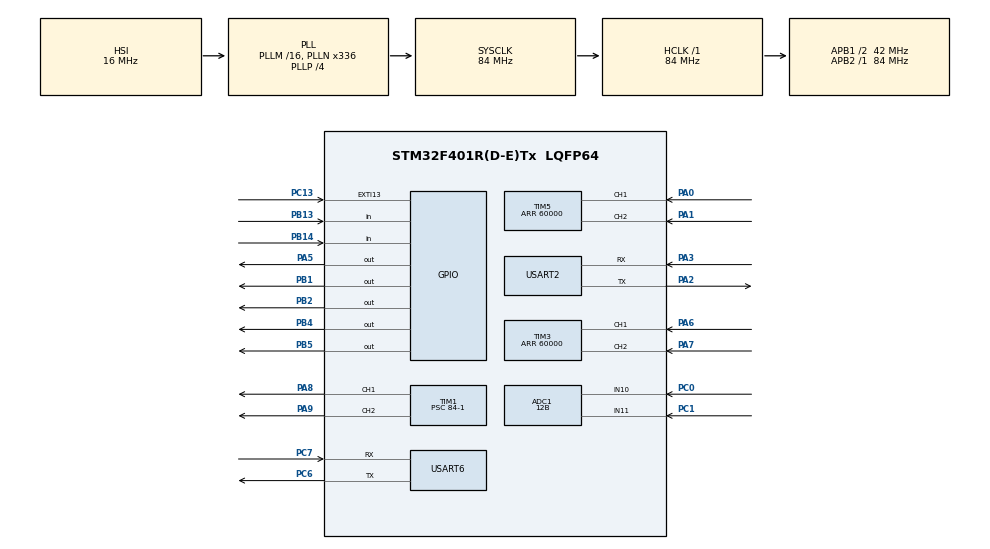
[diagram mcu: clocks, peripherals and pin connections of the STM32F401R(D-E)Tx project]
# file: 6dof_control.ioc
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ADC1.Channel-0\#ChannelRegularConversion=ADC_CHANNEL_10
ADC1.Channel-1\#ChannelRegularConversion=ADC_CHANNEL_11
ADC1.ClockPrescaler=ADC_CLOCK_SYNC_PCLK_DIV4
ADC1.ContinuousConvMode=DISABLE
ADC1.DMAContinuousRequests=ENABLE
ADC1.DataAlign=ADC_DATAALIGN_RIGHT
ADC1.DiscontinuousConvMode=DISABLE
ADC1.EOCSelection=ADC_EOC_SEQ_CONV
ADC1.EnableAnalogWatchDog=false
ADC1.ExternalTrigConv=ADC_EXTERNALTRIGCONV_T2_TRGO
ADC1.ExternalTrigConvEdge=ADC_EXTERNALTRIGCONVEDGE_RISING
ADC1.InjNumberOfConversion=0
ADC1.NbrOfConversion=2
ADC1.NbrOfConversionFlag=1
ADC1.Rank-0\#ChannelRegularConversion=1
ADC1.Rank-1\#ChannelRegularConversion=2
ADC1.Resolution=ADC_RESOLUTION_12B
ADC1.SamplingTime-0\#ChannelRegularConversion=ADC_SAMPLETIME_112CYCLES
ADC1.SamplingTime-1\#ChannelRegularConversion=ADC_SAMPLETIME_112CYCLES
ADC1.ScanConvMode=ENABLE
ADC1.master=1
Dma.ADC1.0.Direction=DMA_PERIPH_TO_MEMORY
Dma.ADC1.0.FIFOMode=DMA_FIFOMODE_DISABLE
Dma.ADC1.0.Instance=DMA2_Stream0
Dma.ADC1.0.MemDataAlignment=DMA_MDATAALIGN_WORD
Dma.ADC1.0.MemInc=DMA_MINC_ENABLE
Dma.ADC1.0.Mode=DMA_CIRCULAR
Dma.ADC1.0.PeriphDataAlignment=DMA_PDATAALIGN_WORD
Dma.ADC1.0.PeriphInc=DMA_PINC_DISABLE
Dma.ADC1.0.Priority=DMA_PRIORITY_LOW
Dma.Request0=ADC1
Mcu.Family=STM32F4
Mcu.Name=STM32F401R(D-E)Tx
Mcu.Package=LQFP64
NVIC.ADC_IRQn=true\:0\:0\:false\:false\:true\:true
NVIC.DMA2_Stream0_IRQn=true\:0\:0\:false\:false\:true\:false
NVIC.PriorityGroup=NVIC_PRIORITYGROUP_0
NVIC.TIM1_BRK_TIM9_IRQn=true\:0\:0\:false\:false\:true\:true
NVIC.TIM1_UP_TIM10_IRQn=true\:0\:0\:false\:false\:true\:true
NVIC.TIM2_IRQn=true\:0\:0\:false\:false\:true\:true
NVIC.TIM3_IRQn=true\:0\:0\:false\:false\:true\:true
NVIC.TIM4_IRQn=true\:0\:0\:false\:false\:true\:true
NVIC.TIM5_IRQn=true\:0\:0\:false\:false\:true\:true
PA0-WKUP.GPIO_ModeDefaultPP=GPIO_MODE_AF_PP
PA0-WKUP.GPIO_PuPd=GPIO_PULLUP
PA0-WKUP.GPIO_Speed=GPIO_SPEED_FREQ_VERY_HIGH
PA0-WKUP.Signal=S_TIM5_CH1
PA1.GPIO_ModeDefaultPP=GPIO_MODE_AF_PP
PA1.GPIO_PuPd=GPIO_PULLUP
PA1.GPIO_Speed=GPIO_SPEED_FREQ_VERY_HIGH
PA1.Signal=S_TIM5_CH2
PA13.Mode=Serial_Wire
PA13.Signal=SYS_JTMS-SWDIO
PA14.Mode=Serial_Wire
PA14.Signal=SYS_JTCK-SWCLK
PA2.GPIO_Mode=GPIO_MODE_AF_PP
PA2.GPIO_PuPd=GPIO_PULLUP
PA2.GPIO_Speed=GPIO_SPEED_FREQ_VERY_HIGH
PA2.Mode=Asynchronous
PA2.Signal=USART2_TX
PA3.GPIO_Mode=GPIO_MODE_AF_PP
PA3.GPIO_PuPd=GPIO_PULLUP
PA3.GPIO_Speed=GPIO_SPEED_FREQ_VERY_HIGH
PA3.Mode=Asynchronous
PA3.Signal=USART2_RX
PA5.GPIO_Mode=GPIO_MODE_OUTPUT_PP
PA5.GPIO_ModeDefaultOutputPP=GPIO_MODE_OUTPUT_PP
PA5.GPIO_PuPd=GPIO_NOPULL
PA5.GPIO_Speed=GPIO_SPEED_FREQ_LOW
PA5.PinState=GPIO_PIN_RESET
PA5.Signal=GPIO_Output
PA6.GPIO_ModeDefaultPP=GPIO_MODE_AF_PP
PA6.GPIO_PuPd=GPIO_PULLUP
PA6.GPIO_Speed=GPIO_SPEED_FREQ_VERY_HIGH
PA6.Signal=S_TIM3_CH1
PA7.GPIO_ModeDefaultPP=GPIO_MODE_AF_PP
PA7.GPIO_PuPd=GPIO_PULLUP
PA7.GPIO_Speed=GPIO_SPEED_FREQ_VERY_HIGH
PA7.Signal=S_TIM3_CH2
PA8.Signal=S_TIM1_CH1
PA9.Signal=S_TIM1_CH2
PB1.Signal=GPIO_Output
PB13.GPIO_Mode=GPIO_MODE_INPUT
PB13.GPIO_PuPd=GPIO_NOPULL
PB13.Signal=GPIO_Input
PB14.GPIO_Mode=GPIO_MODE_INPUT
PB14.GPIO_PuPd=GPIO_NOPULL
PB14.Signal=GPIO_Input
PB2.Signal=GPIO_Output
PB3.Signal=SYS_JTDO-SWO
PB4.Signal=GPIO_Output
PB5.Signal=GPIO_Output
PC0.Signal=ADCx_IN10
PC1.Signal=ADCx_IN11
PC13-ANTI_TAMP.GPIO_ModeDefaultEXTI=GPIO_MODE_IT_RISING
PC13-ANTI_TAMP.GPIO_PuPd=GPIO_NOPULL
PC13-ANTI_TAMP.Signal=GPXTI13
PC14-OSC32_IN.Mode=LSE-External-Oscillator
PC14-OSC32_IN.Signal=RCC_OSC32_IN
PC15-OSC32_OUT.Mode=LSE-External-Oscillator
PC15-OSC32_OUT.Signal=RCC_OSC32_OUT
PC6.GPIO_Mode=GPIO_MODE_AF_PP
PC6.GPIO_PuPd=GPIO_PULLUP
PC6.GPIO_Speed=GPIO_SPEED_FREQ_VERY_HIGH
PC6.Mode=Asynchronous
PC6.Signal=USART6_TX
PC7.GPIO_Mode=GPIO_MODE_AF_PP
PC7.GPIO_PuPd=GPIO_PULLUP
PC7.GPIO_Speed=GPIO_SPEED_FREQ_VERY_HIGH
PC7.Mode=Asynchronous
PC7.Signal=USART6_RX
PH0\ -\ OSC_IN.Mode=HSE-External-Clock-Source
PH0\ -\ OSC_IN.Signal=RCC_OSC_IN
PH1\ -\ OSC_OUT.Mode=HSE-External-Clock-Source
PH1\ -\ OSC_OUT.Signal=RCC_OSC_OUT
ProjectManager.HeapSize=0x200
ProjectManager.StackSize=0x400
ProjectManager.TargetToolchain=EWARM
RCC.48MHZClocksFreq_Value=48000000
RCC.AHBFreq_Value=84000000
RCC.APB1CLKDivider=RCC_HCLK_DIV2
RCC.APB1Freq_Value=42000000
RCC.APB1TimFreq_Value=84000000
RCC.APB2Freq_Value=84000000
RCC.APB2TimFreq_Value=84000000
RCC.CortexFreq_Value=84000000
RCC.HCLKFreq_Value=84000000
RCC.HSE_VALUE=8000000
RCC.HSI_VALUE=16000000
RCC.PLLN=336
RCC.PLLP=RCC_PLLP_DIV4
RCC.PLLQ=7
RCC.SYSCLKFreq_VALUE=84000000
RCC.SYSCLKSource=RCC_SYSCLKSOURCE_PLLCLK
RCC.VCOOutputFreq_Value=336000000
RCC.VDD_VALUE=3.3
SH.ADCx_IN10.0=ADC1_IN10,IN10
SH.ADCx_IN11.0=ADC1_IN11,IN11
SH.S_TIM1_CH1.0=TIM1_CH1,PWM Generation1 CH1
SH.S_TIM1_CH2.0=TIM1_CH2,PWM Generation2 CH2
SH.S_TIM3_CH1.0=TIM3_CH1,Encoder_Interface
SH.S_TIM3_CH2.0=TIM3_CH2,Encoder_Interface
SH.S_TIM5_CH1.0=TIM5_CH1,Encoder_Interface
SH.S_TIM5_CH2.0=TIM5_CH2,Encoder_Interface
TIM1.Channel-PWM\ Generation1\ CH1=TIM_CHANNEL_1
TIM1.Channel-PWM\ Generation2\ CH2=TIM_CHANNEL_2
TIM1.OCFastMode_PWM-PWM\ Generation1\ CH1=TIM_OCFAST_ENABLE
TIM1.OCFastMode_PWM-PWM\ Generation2\ CH2=TIM_OCFAST_ENABLE
TIM1.Period=100-1
TIM1.Prescaler=84-1
TIM1.Pulse-PWM\ Generation1\ CH1=0
TIM1.Pulse-PWM\ Generation2\ CH2=0
TIM2.Period=100-1
TIM2.Prescaler=840-1
TIM2.TIM_MasterOutputTrigger=TIM_TRGO_UPDATE
TIM3.EncoderMode=TIM_ENCODERMODE_TI12
TIM3.IC2Polarity=TIM_ICPOLARITY_FALLING
TIM3.Period=60000
TIM4.Period=1000-1
TIM4.Prescaler=8400-1
TIM4.TIM_MasterOutputTrigger=TIM_TRGO_UPDATE
TIM5.EncoderMode=TIM_ENCODERMODE_TI12
TIM5.IC2Polarity=TIM_ICPOLARITY_FALLING
TIM5.Period=60000
TIM9.Period=100-1
TIM9.Prescaler=8400-1
USART2.VirtualMode=VM_ASYNC
USART6.VirtualMode=VM_ASYNC
VP_TIM1_VS_ClockSourceINT.Mode=Internal
VP_TIM2_VS_ClockSourceINT.Mode=Internal
VP_TIM4_VS_ClockSourceINT.Mode=Internal
VP_TIM9_VS_ClockSourceINT.Mode=Internal
board=NUCLEO-F401RE

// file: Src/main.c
/**
  ******************************************************************************
  * @file           : main.c
  * @brief          : Main program body
  ******************************************************************************
  ** This notice applies to any and all portions of this file
  * that are not between comment pairs USER CODE BEGIN and
  * USER CODE END. Other portions of this file, whether
  * inserted by the user or by software development tools
  * are owned by their respective copyright owners.
  *
  * COPYRIGHT(c) 2021 STMicroelectronics
  *
  * Redistribution and use in source and binary forms, with or without modification,
  * are permitted provided that the following conditions are met:
  *   1. Redistributions of source code must retain the above copyright notice,
  *      this list of conditions and the following disclaimer.
  *   2. Redistributions in binary form must reproduce the above copyright notice,
  *      this list of conditions and the following disclaimer in the documentation
  *      and/or other materials provided with the distribution.
  *   3. Neither the name of STMicroelectronics nor the names of its contributors
  *      may be used to endorse or promote products derived from this software
  *      without specific prior written permission.
  *
  * THIS SOFTWARE IS PROVIDED BY THE COPYRIGHT HOLDERS AND CONTRIBUTORS "AS IS"
  * AND ANY EXPRESS OR IMPLIED WARRANTIES, INCLUDING, BUT NOT LIMITED TO, THE
  * IMPLIED WARRANTIES OF MERCHANTABILITY AND FITNESS FOR A PARTICULAR PURPOSE ARE
  * DISCLAIMED. IN NO EVENT SHALL THE COPYRIGHT HOLDER OR CONTRIBUTORS BE LIABLE
  * FOR ANY DIRECT, INDIRECT, INCIDENTAL, SPECIAL, EXEMPLARY, OR CONSEQUENTIAL
  * DAMAGES (INCLUDING, BUT NOT LIMITED TO, PROCUREMENT OF SUBSTITUTE GOODS OR
  * SERVICES; LOSS OF USE, DATA, OR PROFITS; OR BUSINESS INTERRUPTION) HOWEVER
  * CAUSED AND ON ANY THEORY OF LIABILITY, WHETHER IN CONTRACT, STRICT LIABILITY,
  * OR TORT (INCLUDING NEGLIGENCE OR OTHERWISE) ARISING IN ANY WAY OUT OF THE USE
  * OF THIS SOFTWARE, EVEN IF ADVISED OF THE POSSIBILITY OF SUCH DAMAGE.
  *
  ******************************************************************************
  */
#include "main.h"
#include "stm32f4xx_hal.h"

/* USER CODE BEGIN Includes */
#include <stdlib.h>
#include <stdbool.h>
#include <math.h>
#include "6dof-xel.h"
#include "round_function.h"
/* USER CODE END Includes */

ADC_HandleTypeDef hadc1;
DMA_HandleTypeDef hdma_adc1;

TIM_HandleTypeDef htim1;
TIM_HandleTypeDef htim2;
TIM_HandleTypeDef htim3;
TIM_HandleTypeDef htim4;
TIM_HandleTypeDef htim5;
TIM_HandleTypeDef htim9;

UART_HandleTypeDef huart2;
UART_HandleTypeDef huart6;

/* USER CODE BEGIN PV */
/* Private variables ---------------------------------------------------------*/

/////////////////////////// encoder parameters
const double PUSLE2DEG = 0.12;
const int32_t ENCODER_INIT = 30000;
int32_t Encoder3=30000;
int32_t pre_Encoder3=30000;
int32_t Encoder5=30000;
int32_t pre_Encoder5=30000;
int32_t ref_encoder2;

////////////////////////// time parameters
const double TIME = 0.01;//
const double RPT = 1.0;
uint8_t num = 0;
double speed = 0.0 ;
double rpm = 0.0 ;

///////////////////////// PID parameter
double PKp_2, PKi_2=0, PKd_2=0, PKc_2=0, PN_2=0, t ;

double SKp_2, SKi_2=0, SKd_2=0, SKc_2=0, SN_2=0 ;

double CKp_2, CKi_2=0, CKd_2=0, CKc_2=0, CN_2=0 ;

double Kp_3, Ki_3=0, Kd_3=0, N_3=0;

double dead_margin = 55;
///////////////////////// motor control parameter
int32_t ref_pulse2, err_pulse2, en_pulse2 ;

double ref_angle2, cur_angle2, err_angle2, err_val_2;

double ref_speed2, cur_speed2, err_speed2, ref_rpm2, cur_rpm2, err_rpm2 ,test;

double ref_cur2, cur_cur2, err_cur2;

double POp_2 = 0, POi_2 = 0 , POd_2 = 0, pre_POd_2, PWM_out=0, PWM_out2=0, PWM_out3, Pout_2=0;

double SOp_2 = 0, SOi_2 = 0 , SOd_2 = 0, pre_SOd_2, Sout_2=0;

double COp_2 = 0, COi_2 = 0 , COd_2 = 0, pre_COd_2, Cout_2=0;

int32_t ref_pulse3, err_pulse3, en_pulse3 ;

double ref_angle3, cur_angle3, err_angle3, err_val_3;

double ref_speed3, cur_speed3, err_speed3, ref_rpm3, cur_rpm3, err_rpm3 ;

double Op_3 = 0, Oi_3 = 0 , Od_3 = 0, pre_Od_3, out_3;

double sat_rpm2, sat_rpm3;

const bool MOTOR_ON = 0, MOTOR_OFF = 1;

////////////////////////// state parmameter

bool mode = 1;
bool status =1;
bool status_1=1, status_2=1;

double cc;
double cs;
double cp;
double ra = 5.33;
double la = 2;

/******************************************************************************/
/******************************************************************************/
/******************************************************************************/
/******************************************************************************/
uint8_t cnt = 0;

extern unsigned char bufftx[28] ;

///////////////////////////joint parameter
extern double theta_1, theta_2, theta_3, theta_4, theta_5, theta_6, theta_ref1, theta_ref2, theta_ref3, theta;   // joint angle
extern double temp_1, temp_2, temp_3, temp_4, temp_5, temp_6;
extern double t1,t2,t3,t4,t5,t6, g ; //theta temp

//////////////////////////endeffector position state
extern float r11 , r12 , r13 , r21 , r22 , r23 , r31 , r32 , r33;
///

//////////////////////////// endeffector position state
extern float px  , py  , pz  ;
extern float px_c, py_c, pz_c;
extern float px_n, py_n, pz_n;
///
/////////////////////////// trejectory, move parameter
double range;
bool sign, dr;                // movement function parameter
double move_cnt = 0;         // movement function parameter
double cnt_speed = 0.1;

extern double angle_sum;
double theta_sum ,theta_sum1;

bool hold =1 ;

///////////////////////// motor current data
uint32_t adcVal[2];
int32_t temp[2];
double cur_sum;
double mot_cur[2];
double mot_temp[2] = {0,0};
double filter = 0.2;
double move_avg[10];

/******************************************************************************/
/******************************************************************************/
/******************************************************************************/

/* USER CODE END PV */

void SystemClock_Config(void);
static void MX_GPIO_Init(void);
static void MX_DMA_Init(void);
static void MX_USART2_UART_Init(void);
static void MX_TIM1_Init(void);
static void MX_TIM3_Init(void);
static void MX_TIM4_Init(void);
static void MX_USART6_UART_Init(void);
static void MX_TIM5_Init(void);
static void MX_ADC1_Init(void);
static void MX_TIM2_Init(void);
static void MX_TIM9_Init(void);

void HAL_TIM_MspPostInit(TIM_HandleTypeDef *htim);

/* USER CODE BEGIN PFP */
/* Private function prototypes -----------------------------------------------*/
void toggle();
void control_gain_init();
void ref_val_init();
void calibrate();
double pwm_limit();
double speed_limit(double input);
void read_encoder();
double wind_up();
double position_control();
void motion_activate();
void move();
void trajectory();
/* USER CODE END PFP */

/* USER CODE BEGIN 0 */

void toggle()
{
  if(num == 1)
  {
    num = 0;
  }
  else
  {
    num = 1;
  }
}

void ref_val_init()
{
  t = TIME;
  ref_angle2 = 0.0;
  err_angle2 = 0.0;
}

void calibrate()
{
  if((HAL_GPIO_ReadPin(GPIOB, GPIO_PIN_13)==0)&&(HAL_GPIO_ReadPin(GPIOB, GPIO_PIN_14)==0)) // button on
  {
    status=0;

    TIM3->CNT = ENCODER_INIT;  //ENCODER_INIT=30000
    TIM5->CNT = 31190;  //ENCODER_INIT=30000
  }
  if(status==0)
  {
    read_encoder();

    HAL_GPIO_WritePin(GPIOB,GPIO_PIN_4,GPIO_PIN_SET);
    HAL_GPIO_WritePin(GPIOB,GPIO_PIN_5,GPIO_PIN_RESET);
    htim1.Instance->CCR1 = 65;

    HAL_GPIO_WritePin(GPIOB,GPIO_PIN_1,GPIO_PIN_SET);
    HAL_GPIO_WritePin(GPIOB,GPIO_PIN_2,GPIO_PIN_RESET);
    htim1.Instance->CCR2 = 65;

    if(Encoder3>=30750)
    {
      htim1.Instance->CCR1 = 0;
      status_1 = 0;
      status_2 = 0;
    }

    if((Encoder5<=29250))
    {
      htim1.Instance->CCR2 = 0;
      status_2 = 0;
    }

    if((status_1==0)&&(status_2==0))
    {
      mode = MOTOR_ON;
    }
  }

}

double pwm_limit(double PWM_out)
{
  double out = fabs(PWM_out);
  if(PWM_out>=0.0)
  {
    if(out>=105.0)
    {
      out = 105.0;
      return out ;
    }
    else
    {
      return out ;
    }
  }
  else
  {
    if(out>=105.0)
    {
      out = 105.0;
      return -out ;
    }
    else
    {
      return -out ;
    }
  }

}
double pwm_limit2(double PWM_out)
{
  double out = fabs(PWM_out);
  if(PWM_out>=0.0)
  {
    if(out>=100.0)
    {
      out = 100.0;
      return out ;
    }
    else
    {
      return out ;
    }
  }
  else
  {
    if(out>=100.0)
    {
      out = 100.0;
      return -out ;
    }
    else
    {
      return -out ;
    }
  }

}

double signal_limit(double in)
{
  double out = fabs(in);
  if(in>=0.0)
  {
    if(out>=100.0)
    {
      out = 100.0;
      return out ;
    }
    else
    {
      return out ;
    }
  }
  else
  {
    if(out>=100.0)
    {
      out = 100.0;
      return -out ;
    }
    else
    {
      return -out ;
    }
  }

}

double rpm_limit(double input)
{
  double rpm = 30;
  if (input >= rpm)
  {
    input = rpm;
    return input ;
  }
  else if (input <= -rpm)
  {
    input = -rpm;
    return input ;
  }
  else
  {
    return input ;
  }
}

double err_limit2(double input)
{
  double val = 50;
  if (input >= val)
  {
    input = val;
    return input ;
  }
  else if (input <= -val)
  {
    input = -val;
    return input ;
  }
  else
  {
    return input ;
  }
}

double err_limit3(double input)
{
  if (input >= 100)
  {
    input = 100;
    return input ;
  }
  else if (input <= -100)
  {
    input = -100;
    return input ;
  }
  else
  {
    return input ;
  }
}

void read_encoder()
{
  pre_Encoder3 = Encoder3;
  Encoder3 = TIM3->CNT;
  pre_Encoder5 = Encoder5;
  Encoder5 = TIM5->CNT;
}

void move()  // movement input
{
  switch (sign){
  case 0:
    move_cnt = (move_cnt + cnt_speed); // add cnt
    break ;
  case 1:
    move_cnt = (move_cnt - cnt_speed); // subtract cnt
    break;
  }
  if(move_cnt<=900.0)
  {
    sign = 0;
    move_cnt=900.0;
  }
  else if(move_cnt>=1700.0)
  {
    sign = 1;
    move_cnt=1700.0;
  }
}

void trajectory()
{
  if(theta>=30.0)
  {
    dr = 1;
    theta = 30.0;
  }
  else if(theta<=-30.0)
  {
    dr = 0;
    theta = -30.0;
  }

  switch (dr){
  case 0:
    theta = (theta + cnt_speed); // add cnt
    break ;
  case 1:
    theta = (theta - cnt_speed); // subtract cnt
    break;
  }

  //px = 24;//range*cosd(theta)+19;
  //py = 0;//range*sind(theta);
}
//void trajectory()
//{
//  theta = theta + cnt_speed;
//  if(theta>360.0)
//  {
//    theta = 0.0;
//  }
//  px = range*cosd(theta)+19;
//  py = range*sind(theta);
//}
double deadzone_control(double PWM, double offset)
{
  double size = fabs(PWM);

  if(size < offset)
  {
    return 0;
  }
  else
  {
    return (size-offset);
  }
}

void pwm_dir2()
{
  double val = PWM_out3;
  if(PWM_out3>=0)
  {
    HAL_GPIO_WritePin(GPIOB,GPIO_PIN_4,GPIO_PIN_SET);
    HAL_GPIO_WritePin(GPIOB,GPIO_PIN_5,GPIO_PIN_RESET);
    htim1.Instance->CCR1 = 0.4*deadzone_control(val,dead_margin)+dead_margin;//(uint16_t)(fabs(PWM_out));
    //htim1.Instance->CCR2 = (uint16_t)pwm_limit(PWM_out2);
  }
  else

  {
    HAL_GPIO_WritePin(GPIOB,GPIO_PIN_4,GPIO_PIN_RESET);
    HAL_GPIO_WritePin(GPIOB,GPIO_PIN_5,GPIO_PIN_SET);
    htim1.Instance->CCR1 = 0.5*deadzone_control(val,dead_margin)+dead_margin-(int)(10*(cos(t2)));//(uint16_t)(fabs(PWM_out));
    //htim1.Instance->CCR2 = (uint16_t)pwm_limit(PWM_out2);
  }
}

//double position_control_2(double theta, int32_t Encoder, int32_t p_Encoder)
//{
//  ref_encoder2 = (int32_t)(theta_2/0.12)+30000;
//  ref_angle2 = t2;
//  cur_angle2 = (double)(PUSLE2DEG*(Encoder-ENCODER_INIT));
//  err_angle2 = err_limit2(ref_angle2-(cur_angle2)); //ENCODER_INIT=30000
//
//  ref_speed2 = err_angle2/TIME ;
//  cur_speed2 = PUSLE2DEG*((double)(Encoder - p_Encoder))/TIME;
//  err_speed2 = ref_speed2 - cur_speed2 ;
//
//  cur_rpm2 = cur_speed2/6.0 ;
//  err_rpm2 = err_speed2/6.0 ;
//  sat_rpm2 = (cur_speed2 - ref_speed2)/6;
//  err_val_2 = err_rpm2 ;
//
//  Op_2 = Kp_2*err_val_2;
//  Oi_2 = Oi_2 + Ki_2*err_val_2 ;//- Kc*(wind_up());//- Kc*(err_angle - cur_angle)  ;
//  pre_Od_2 = Od_2*TIME;
//  Od_2 = N_2*(Kd_2*(err_val_2)-pre_Od_2);
//
//  out_2 = Op_2+Oi_2+Od_2;
//
//  return out_2;
//}
void control_gain_init()
{
  {
  //Kp = 0.3;
  //Ki = 0.2;
  //
  //Kd = 0.49451;
  //Kc = 0.5;
  //N = 16.7294;

 //Kp = 0.03;
 //Ki = 0.0002;
 //
 //Kd = 0.008;
 //N = 9.16040789142467;

  //Kp = 0.0341066830716548;
  //Ki = 0.0231130725061613;
  //
  //Kd = 0.00308559449264262;
  //N = 19.5886289882311;

  //Kp = 0.0210739268214095;
  //Ki = 0.0062096248478759;
  //
  //Kd = 0.016878368643201;
  //N = 42.2857833656479;
  //Kp = 0.895448284276385;
  //Ki = 0.320422726264529;
  //
  //Kd = 1;
  //N = 15.4191387639795;

  //Kp =0.2749475077148;
  //Ki =0.015167127895989;
  //
  //Kd =0.125; // oscillating factor
  //Kp_2 =1;//1.5;
  //Ki_2 =0.15;//0.1;
  //
  //Kd_2 =0.4;//0.7; // oscillating factor
  //N_2 = 9;//7;
  }
  PKp_2 = 8;//2.10869939812182;//0.8;//2.92045203042151;
  PKi_2 = 1.1;//1.28631624955068;//0.0215;// 0.711132437994703;

  PKd_2 = 2;//0.150367255370439;//0.76476;//1.35916275795339;
  PN_2 = 0.6;

  PKc_2 = (1.0/PKp_2);

  SKp_2 = 1.2;
  SKi_2 = 0.02;

  SKc_2 = (0.1/SKp_2);

  dead_margin = 59;

  CKp_2 = 70;
  CKi_2 = 0.05;

  CKc_2 = (1/CKp_2);

  Kp_3 =1.1;//8.5;
  Ki_3 =0.09;//0.9;
  Kd_3 =0.3;//5; // oscillating factor
  N_3 = 5;

  ra = 5.33;
  la = 0.001;
 }
double wind_up(double sat_data)
{
  double PWM = pwm_limit(sat_data);
  double saturation = sat_data-PWM;
  if(saturation>0 && sat_data>0)
  {
    return saturation;
  }
  else if(saturation<0 && sat_data<0)
  {
    return saturation;
  }
  else
  {
    return 0;
  }
}
//double currnt_limit(double cur_in)
//{
//  if(cur_in>=0.0)
//  {
//    if(cur_in>=12
//  }
//}
double I_limit(double I,double P)
{
  double sum = P+I;
  double out = fabs(sum);
  if(sum>=0)
  {
    if(out>=100)
    {
      I = 100.0 - P;
      return I;
    }
    else
    {
      return I;
    }
  }
  else
  {
    if(out>=100)
    {
      I = -(100.0 + P);
      return I;
    }
    else
    {
      return I;
    }
  }

}
double position_control_2(double theta, int32_t Encoder, int32_t p_Encoder)
{

  ref_encoder2 = (int32_t)(t2/0.12)+30000;
  ref_angle2 = t2;
  cur_angle2 = (double)(PUSLE2DEG*(Encoder-ENCODER_INIT));
  err_angle2 = ref_angle2-(cur_angle2); //ENCODER_INIT=30000

  err_val_2 = err_limit2(err_angle2) ;

  //cur_speed2 = PUSLE2DEG*((double)(Encoder - p_Encoder))/TIME;
  //err_speed2 = ref_speed2 - cur_speed2 ;

  //cur_rpm2 = cur_speed2/6.0 ;
  //err_rpm2 = err_limit2(err_speed2/6.0);
  //sat_rpm2 = (cur_speed2 - ref_speed2)/6;

  POp_2 = PKp_2*err_val_2;
  POi_2 = POi_2 + (PKi_2*(err_val_2-(PKc_2*(wind_up(Pout_2))))); //;//- Kc*(wind_up());//- Kc*(err_angle - cur_angle)  ;

  POd_2 = PN_2*((PKd_2*err_val_2)-pre_POd_2);
  pre_POd_2 = POd_2;

  Pout_2 = POp_2+POi_2+POd_2;

  return Pout_2;
}

double velocity_control_2(double speed, int32_t Encoder, int32_t p_Encoder)
{

  ref_rpm2 = speed/(5.0) ;
  cur_speed2 = ((double)(1/TIME)*PUSLE2DEG)*(double)(Encoder - p_Encoder)/5.0;
  cur_rpm2 = cur_speed2;
  err_rpm2 = speed - cur_rpm2 ;

  //sat_rpm2 = (cur_speed2 - ref_speed2)/6.0;

  //err_val_2 = err_rpm2 ;
  err_val_2 = err_rpm2 ;

  SOp_2 = SKp_2*err_val_2;
  SOi_2 = I_limit((SOi_2 + (SKi_2*(err_val_2-(SKc_2*(wind_up(Sout_2) ) ) ) )) ,SOp_2 );//- Kc*(wind_up());//- Kc*(err_angle - cur_angle)  ;

  //SOd_2 = SN_2*((SKd_2*err_val_2)-pre_SOd_2);
  //pre_SOd_2 = SOd_2*TIME;

  Sout_2 = SOp_2+SOi_2;

  return Sout_2;
}

double current_control_2(double current,double cur_sensor)
{
  ref_cur2 = 1.75*(current/100.0);
  cur_cur2 = cur_sensor;
  err_cur2 = ref_cur2 - cur_cur2;

  COp_2 = CKp_2*err_cur2;
  COi_2 = I_limit(COi_2 + (CKi_2*(err_cur2)-(CKc_2*(wind_up(Cout_2)))),COp_2 ) ;

  Cout_2 = COp_2+COi_2;
  test = Cout_2;
}

void pwm_dir3()
{
  if(PWM_out3>=0)
  {
    HAL_GPIO_WritePin(GPIOB,GPIO_PIN_1,GPIO_PIN_RESET);
    HAL_GPIO_WritePin(GPIOB,GPIO_PIN_2,GPIO_PIN_SET);
    htim1.Instance->CCR2 = (uint16_t)(pwm_limit(PWM_out3));//(uint16_t)(fabs(PWM_out));
    //htim1.Instance->CCR2 = (uint16_t)pwm_limit(PWM_out2);
  }
  else
  {
    HAL_GPIO_WritePin(GPIOB,GPIO_PIN_1,GPIO_PIN_SET);
    HAL_GPIO_WritePin(GPIOB,GPIO_PIN_2,GPIO_PIN_RESET);
    htim1.Instance->CCR2 = (uint16_t)(0.9*(pwm_limit(PWM_out3)));//(uint16_t)(fabs(PWM_out)); //motor pwm default 20
    //htim1.Instance->CCR2 = (uint16_t)pwm_limit(PWM_out2);
  }
}

double position_control_3(double theta, int32_t Encoder, int32_t p_Encoder)
{

  ref_angle3 = t3;
  cur_angle3 = PUSLE2DEG*(Encoder-ENCODER_INIT);
  err_angle3 = err_limit3(ref_angle3-cur_angle3); //ENCODER_INIT=30000

  ref_speed3 = 1.5*(err_angle3)/TIME ; //timcnt 0~150, err_angle_max=100, cnt ratio method
  cur_speed3 = 1.5*(PUSLE2DEG*((double)(Encoder - p_Encoder)))/TIME;
  err_speed3 = speed_limit(ref_speed3 - cur_speed3) ;

  cur_rpm3 = cur_speed3/6;
  err_rpm3 = err_speed3/6 ;
  sat_rpm3 = (cur_angle3 - ref_angle3)/6;
  err_val_3 = err_rpm3 ;

  Op_3 = Kp_3*err_val_3;
  Oi_3 = Oi_3 + Ki_3*err_val_3 ;//- Kc*(wind_up());//- Kc*(err_angle - cur_angle)  ;
  pre_Od_3 = Od_3*TIME;
  Od_3 = N_3*(Kd_3*(err_val_3)-pre_Od_3);

  out_3 = (Op_3+Oi_3+Od_3);//+(Kc*(sat_rpm3))

  return out_3;
}

void motion_activate()
{
  switch(mode)
      {
      case 0:
        {
          //read_encoder();
          //PWM_out2 = position_control_2(theta_2, Encoder3, pre_Encoder3); //////////
          //PWM_out = velcity_control_2(Encoder3, pre_Encoder3);
          //pwm_dir2();

          //PWM_out3 = position_control_3(theta_3, Encoder5, pre_Encoder5); //////////
          //pwm_dir3();

          endeff_set(theta, theta, theta);
          //cal_target_val(px,py,pz);
          //pos_calibrate();

          theta_sum = temp_2 + temp_3 + temp_5 ;
          theta_sum1 = t2 + t3 + t5 ;

          dec2hex(t1, t4, t5, t6) ;
          value_assign();
          Packet_value_set() ; /// xels activate
          //angle_sum = theta_2+theta_3+theta_4 ;
          HAL_UART_Transmit(&huart6, (uint8_t *)bufftx, (sizeof(bufftx)), HAL_MAX_DELAY);

          break ;
        }
      case 1:
        {
          Packet_value_set() ; /// xels activate
          //read_encoder();
          HAL_UART_Transmit(&huart6, (uint8_t *)bufftx, (sizeof(bufftx)), HAL_MAX_DELAY);
          // xel default pos
          HAL_GPIO_WritePin(GPIOB,GPIO_PIN_1,GPIO_PIN_RESET);
          HAL_GPIO_WritePin(GPIOB,GPIO_PIN_2,GPIO_PIN_SET);
          HAL_GPIO_WritePin(GPIOB,GPIO_PIN_4,GPIO_PIN_RESET);
          HAL_GPIO_WritePin(GPIOB,GPIO_PIN_5,GPIO_PIN_SET);
          htim1.Instance->CCR1 = 0;
          htim1.Instance->CCR2 = 0;

          calibrate();//////////

          break ;
        }

      }
}

void HAL_TIM_PeriodElapsedCallback(TIM_HandleTypeDef *htim)
{
  if(mode == MOTOR_OFF)
  {
    calibrate();
    HAL_GPIO_TogglePin(GPIOA, GPIO_PIN_5);
  }
  else
  {
    if(htim == &htim2)
    {
      for(int i = 0; i < 2; i++)
      {
        temp[i] = adcVal[i];//;-(uint32_t)(3103);
        mot_cur[i] = (5*(double)(temp[i]-2048))/4096; //(3.3/5)=0.66 //4096-3103 = 993
        mot_cur[i] = (filter)*mot_cur[i]+(1.0-filter)*mot_temp[i];
        mot_temp[i] = mot_cur[i]+0.08;
      }
      move_avg[0] = move_avg[1];
      move_avg[1] = move_avg[2];
      move_avg[2] = move_avg[3];
      move_avg[3] = move_avg[4];
      move_avg[4] = move_avg[5];
      move_avg[5] = move_avg[6];
      move_avg[6] = move_avg[7];
      move_avg[7] = move_avg[8];
      move_avg[8] = mot_cur[0];

      move_avg[9] = (move_avg[0]+move_avg[1]+move_avg[2]+move_avg[3]+move_avg[4]+move_avg[5]+move_avg[6]+move_avg[7]+move_avg[8])/9.0;
      PWM_out3 = current_control_2(PWM_out2,move_avg[9]);
      pwm_dir2();
    }
    else if(htim == &htim9)
    {
      read_encoder();
      PWM_out2 = pwm_limit2(velocity_control_2(PWM_out, Encoder3, pre_Encoder3));

      // motion_activate();

    }
    else if(htim == &htim4)// control period 0.01s
    {

      read_encoder();
      PWM_out = pwm_limit(position_control_2(theta_2, Encoder3, pre_Encoder3));
      //pwm_dir2();//motion_activate();
      //cur_sum = 100*(mot_cur[0]+mot_cur[1]);
      //move();

      //read_encoder();

  //      bufftx[8]  = angle_0L;
  //      bufftx[9]  = angle_0H;
  //      bufftx[10] = speed_0L;
  //      bufftx[11] = speed_0H;
  //
  //      bufftx[13] = angle_12L;
  //      bufftx[14] = angle_12H;
  //      bufftx[15] = speed_12L;
  //      bufftx[16] = speed_12H;
  //
  //      bufftx[18] = angle_12L;
  //      bufftx[19] = angle_12H;
  //      bufftx[20] = speed_12L;
  //      bufftx[21] = speed_12H;
  //
  //      bufftx[23] = angle_3L;
  //      bufftx[24] = angle_3H;
  //      bufftx[25] = speed_3L;
  //      bufftx[26] = speed_3H;
  //
  //      bufftx[28] = angle_4L;
  //      bufftx[29] = angle_4H;
  //      bufftx[30] = speed_4L;
  //      bufftx[31] = speed_4H;
  //
  //      bufftx[32] =  ~(0xfe + 0x1d + 0x83 + 0x1e + 0x04
  //    + 0x00 + angle_0L + angle_0H + speed_0L + speed_0H
  //    + 0x01 + angle_12L + angle_12H + speed_12L + speed_12H
  //    + 0x02 + angle_12L + angle_12H + speed_12L + speed_12H
  //    + 0x03 + angle_3L + angle_3H + speed_3L + speed_3H
  //    + 0x04 + angle_4L + angle_4H + speed_4L + speed_4H );

  // {0xff, 0xff, 0x01, 0x05, 0x04, 0x1e, (*angle_L), (*angle_H) , ~( 0x01 + 0x05 + 0x04 + 0x1e + (*angle_L) + (*angle_H))
  //, 0xff, 0xff, 0x02, 0x05, 0x04, 0x1e, 0xff, 0x01, ~( 0x02 + 0x05 + 0x04 + 0x1e + (*angle_L) + (*angle_H))
  //, 0xff, 0xff, 0x00, 0x05, 0x04, 0x1e, 0xff, 0x01, ~( 0x00 + 0x05 + 0x04 + 0x1e + (*angle_L) + (*angle_H))
  //, 0xff, 0xff, 0xfe, 0x02, 0x05, ~(0xfe + 0x02 + 0x05)};
      if(hold == 0)
      {

        trajectory();
        endeff_set(theta,theta,theta);
        cal_target_val(px,py,pz);
        pos_calibrate();
        dec2hex(t1, t4, t5, t6) ;
        value_assign();
        Packet_value_set() ; /// xels activate
      }
      //angle_sum = theta_2+theta_3+theta_4 ;
      HAL_UART_Transmit(&huart6, (uint8_t *)bufftx, (sizeof(bufftx)), HAL_MAX_DELAY);
      ///////////////////////

      range = 5;

    }
    //else if(htim == &htim3)
    //{
    //  move();
    //}
  }
}

/* USER CODE END 0 */

int main(void)
{

  /* MCU Configuration----------------------------------------------------------*/

  /* Reset of all peripherals, Initializes the Flash interface and the Systick. */
  HAL_Init();

  /* Configure the system clock */
  SystemClock_Config();

  /* Initialize all configured peripherals */
  MX_GPIO_Init();
  MX_DMA_Init();
  MX_USART2_UART_Init();
  MX_TIM1_Init();
  MX_TIM3_Init();
  MX_TIM4_Init();
  MX_USART6_UART_Init();
  MX_TIM5_Init();
  MX_ADC1_Init();
  MX_TIM2_Init();
  MX_TIM9_Init();
  /* USER CODE BEGIN 2 */

  HAL_TIM_Encoder_Start(&htim3,TIM_CHANNEL_ALL);
  TIM3->CNT = ENCODER_INIT;  //ENCODER_INIT=30000
  HAL_TIM_Encoder_Start(&htim5,TIM_CHANNEL_ALL);
  TIM5->CNT = 29864;  //ENCODER_INIT=30000

  HAL_TIM_PWM_Start(&htim1, TIM_CHANNEL_1);
  HAL_TIM_PWM_Start(&htim1, TIM_CHANNEL_2);
  htim1.Instance->CCR1 = 0;
  htim1.Instance->CCR2 = 0;

  HAL_GPIO_WritePin(GPIOA,GPIO_PIN_6,GPIO_PIN_SET);
  HAL_GPIO_WritePin(GPIOA,GPIO_PIN_7,GPIO_PIN_RESET);
  HAL_GPIO_WritePin(GPIOB,GPIO_PIN_1,GPIO_PIN_SET);
  HAL_GPIO_WritePin(GPIOB,GPIO_PIN_2,GPIO_PIN_RESET);
  HAL_TIM_Base_Start_IT(&htim2);
  HAL_TIM_Base_Start_IT(&htim9);

  HAL_TIM_Base_Start_IT(&htim4); ////adc trigger timer
  HAL_TIM_Base_Start_IT(&htim3);
  HAL_TIM_Base_Start_IT(&htim5);

  HAL_ADC_Start_DMA(&hadc1, adcVal, 2);//// adc dma start

  mode = 1;
  control_gain_init();
  ref_val_init();

  endeff_set(theta_ref1, theta_ref2, theta_ref3);
  /* USER CODE END 2 */

  /* Infinite loop */
  while (1)
  {

  }

}

void SystemClock_Config(void)
{

  RCC_OscInitTypeDef RCC_OscInitStruct;
  RCC_ClkInitTypeDef RCC_ClkInitStruct;

    /**Configure the main internal regulator output voltage
    */
  __HAL_RCC_PWR_CLK_ENABLE();

  __HAL_PWR_VOLTAGESCALING_CONFIG(PWR_REGULATOR_VOLTAGE_SCALE2);

    /**Initializes the CPU, AHB and APB busses clocks
    */
  RCC_OscInitStruct.OscillatorType = RCC_OSCILLATORTYPE_HSI;
  RCC_OscInitStruct.HSIState = RCC_HSI_ON;
  RCC_OscInitStruct.HSICalibrationValue = 16;
  RCC_OscInitStruct.PLL.PLLState = RCC_PLL_ON;
  RCC_OscInitStruct.PLL.PLLSource = RCC_PLLSOURCE_HSI;
  RCC_OscInitStruct.PLL.PLLM = 16;
  RCC_OscInitStruct.PLL.PLLN = 336;
  RCC_OscInitStruct.PLL.PLLP = RCC_PLLP_DIV4;
  RCC_OscInitStruct.PLL.PLLQ = 7;
  if (HAL_RCC_OscConfig(&RCC_OscInitStruct) != HAL_OK)
  {
    _Error_Handler(__FILE__, __LINE__);
  }

    /**Initializes the CPU, AHB and APB busses clocks
    */
  RCC_ClkInitStruct.ClockType = RCC_CLOCKTYPE_HCLK|RCC_CLOCKTYPE_SYSCLK
                              |RCC_CLOCKTYPE_PCLK1|RCC_CLOCKTYPE_PCLK2;
  RCC_ClkInitStruct.SYSCLKSource = RCC_SYSCLKSOURCE_PLLCLK;
  RCC_ClkInitStruct.AHBCLKDivider = RCC_SYSCLK_DIV1;
  RCC_ClkInitStruct.APB1CLKDivider = RCC_HCLK_DIV2;
  RCC_ClkInitStruct.APB2CLKDivider = RCC_HCLK_DIV1;

  if (HAL_RCC_ClockConfig(&RCC_ClkInitStruct, FLASH_LATENCY_2) != HAL_OK)
  {
    _Error_Handler(__FILE__, __LINE__);
  }

    /**Configure the Systick interrupt time
    */
  HAL_SYSTICK_Config(HAL_RCC_GetHCLKFreq()/1000);

    /**Configure the Systick
    */
  HAL_SYSTICK_CLKSourceConfig(SYSTICK_CLKSOURCE_HCLK);

  /* SysTick_IRQn interrupt configuration */
  HAL_NVIC_SetPriority(SysTick_IRQn, 0, 0);
}

/* ADC1 init function */
static void MX_ADC1_Init(void)
{

  ADC_ChannelConfTypeDef sConfig;

    /**Configure the global features of the ADC (Clock, Resolution, Data Alignment and number of conversion)
    */
  hadc1.Instance = ADC1;
  hadc1.Init.ClockPrescaler = ADC_CLOCK_SYNC_PCLK_DIV4;
  hadc1.Init.Resolution = ADC_RESOLUTION_12B;
  hadc1.Init.ScanConvMode = ENABLE;
  hadc1.Init.ContinuousConvMode = DISABLE;
  hadc1.Init.DiscontinuousConvMode = DISABLE;
  hadc1.Init.ExternalTrigConvEdge = ADC_EXTERNALTRIGCONVEDGE_RISING;
  hadc1.Init.ExternalTrigConv = ADC_EXTERNALTRIGCONV_T2_TRGO;
  hadc1.Init.DataAlign = ADC_DATAALIGN_RIGHT;
  hadc1.Init.NbrOfConversion = 2;
  hadc1.Init.DMAContinuousRequests = ENABLE;
  hadc1.Init.EOCSelection = ADC_EOC_SEQ_CONV;
  if (HAL_ADC_Init(&hadc1) != HAL_OK)
  {
    _Error_Handler(__FILE__, __LINE__);
  }

    /**Configure for the selected ADC regular channel its corresponding rank in the sequencer and its sample time.
    */
  sConfig.Channel = ADC_CHANNEL_10;
  sConfig.Rank = 1;
  sConfig.SamplingTime = ADC_SAMPLETIME_112CYCLES;
  if (HAL_ADC_ConfigChannel(&hadc1, &sConfig) != HAL_OK)
  {
    _Error_Handler(__FILE__, __LINE__);
  }

    /**Configure for the selected ADC regular channel its corresponding rank in the sequencer and its sample time.
    */
  sConfig.Channel = ADC_CHANNEL_11;
  sConfig.Rank = 2;
  if (HAL_ADC_ConfigChannel(&hadc1, &sConfig) != HAL_OK)
  {
    _Error_Handler(__FILE__, __LINE__);
  }

}

/* TIM1 init function */
static void MX_TIM1_Init(void)
{

  TIM_ClockConfigTypeDef sClockSourceConfig;
  TIM_MasterConfigTypeDef sMasterConfig;
  TIM_OC_InitTypeDef sConfigOC;
  TIM_BreakDeadTimeConfigTypeDef sBreakDeadTimeConfig;

  htim1.Instance = TIM1;
  htim1.Init.Prescaler = 84-1;
  htim1.Init.CounterMode = TIM_COUNTERMODE_UP;
  htim1.Init.Period = 100-1;
  htim1.Init.ClockDivision = TIM_CLOCKDIVISION_DIV1;
  htim1.Init.RepetitionCounter = 0;
  if (HAL_TIM_Base_Init(&htim1) != HAL_OK)
  {
    _Error_Handler(__FILE__, __LINE__);
  }

  sClockSourceConfig.ClockSource = TIM_CLOCKSOURCE_INTERNAL;
  if (HAL_TIM_ConfigClockSource(&htim1, &sClockSourceConfig) != HAL_OK)
  {
    _Error_Handler(__FILE__, __LINE__);
  }

  if (HAL_TIM_PWM_Init(&htim1) != HAL_OK)
  {
    _Error_Handler(__FILE__, __LINE__);
  }

  sMasterConfig.MasterOutputTrigger = TIM_TRGO_RESET;
  sMasterConfig.MasterSlaveMode = TIM_MASTERSLAVEMODE_DISABLE;
  if (HAL_TIMEx_MasterConfigSynchronization(&htim1, &sMasterConfig) != HAL_OK)
  {
    _Error_Handler(__FILE__, __LINE__);
  }

  sConfigOC.OCMode = TIM_OCMODE_PWM1;
  sConfigOC.Pulse = 0;
  sConfigOC.OCPolarity = TIM_OCPOLARITY_HIGH;
  sConfigOC.OCNPolarity = TIM_OCNPOLARITY_HIGH;
  sConfigOC.OCFastMode = TIM_OCFAST_ENABLE;
  sConfigOC.OCIdleState = TIM_OCIDLESTATE_RESET;
  sConfigOC.OCNIdleState = TIM_OCNIDLESTATE_RESET;
  if (HAL_TIM_PWM_ConfigChannel(&htim1, &sConfigOC, TIM_CHANNEL_1) != HAL_OK)
  {
    _Error_Handler(__FILE__, __LINE__);
  }

  if (HAL_TIM_PWM_ConfigChannel(&htim1, &sConfigOC, TIM_CHANNEL_2) != HAL_OK)
  {
    _Error_Handler(__FILE__, __LINE__);
  }

  sBreakDeadTimeConfig.OffStateRunMode = TIM_OSSR_DISABLE;
  sBreakDeadTimeConfig.OffStateIDLEMode = TIM_OSSI_DISABLE;
  sBreakDeadTimeConfig.LockLevel = TIM_LOCKLEVEL_OFF;
  sBreakDeadTimeConfig.DeadTime = 0;
  sBreakDeadTimeConfig.BreakState = TIM_BREAK_DISABLE;
  sBreakDeadTimeConfig.BreakPolarity = TIM_BREAKPOLARITY_HIGH;
  sBreakDeadTimeConfig.AutomaticOutput = TIM_AUTOMATICOUTPUT_DISABLE;
  if (HAL_TIMEx_ConfigBreakDeadTime(&htim1, &sBreakDeadTimeConfig) != HAL_OK)
  {
    _Error_Handler(__FILE__, __LINE__);
  }

  HAL_TIM_MspPostInit(&htim1);

}

/* TIM2 init function */
static void MX_TIM2_Init(void)
{

  TIM_ClockConfigTypeDef sClockSourceConfig;
  TIM_MasterConfigTypeDef sMasterConfig;

  htim2.Instance = TIM2;
  htim2.Init.Prescaler = 840-1;
  htim2.Init.CounterMode = TIM_COUNTERMODE_UP;
  htim2.Init.Period = 100-1;
  htim2.Init.ClockDivision = TIM_CLOCKDIVISION_DIV1;
  if (HAL_TIM_Base_Init(&htim2) != HAL_OK)
  {
    _Error_Handler(__FILE__, __LINE__);
  }

  sClockSourceConfig.ClockSource = TIM_CLOCKSOURCE_INTERNAL;
  if (HAL_TIM_ConfigClockSource(&htim2, &sClockSourceConfig) != HAL_OK)
  {
    _Error_Handler(__FILE__, __LINE__);
  }

  sMasterConfig.MasterOutputTrigger = TIM_TRGO_UPDATE;
  sMasterConfig.MasterSlaveMode = TIM_MASTERSLAVEMODE_DISABLE;
  if (HAL_TIMEx_MasterConfigSynchronization(&htim2, &sMasterConfig) != HAL_OK)
  {
    _Error_Handler(__FILE__, __LINE__);
  }

}

/* TIM3 init function */
static void MX_TIM3_Init(void)
{

  TIM_Encoder_InitTypeDef sConfig;
  TIM_MasterConfigTypeDef sMasterConfig;

  htim3.Instance = TIM3;
  htim3.Init.Prescaler = 0;
  htim3.Init.CounterMode = TIM_COUNTERMODE_UP;
  htim3.Init.Period = 60000;
  htim3.Init.ClockDivision = TIM_CLOCKDIVISION_DIV1;
  sConfig.EncoderMode = TIM_ENCODERMODE_TI12;
  sConfig.IC1Polarity = TIM_ICPOLARITY_RISING;
  sConfig.IC1Selection = TIM_ICSELECTION_DIRECTTI;
  sConfig.IC1Prescaler = TIM_ICPSC_DIV1;
  sConfig.IC1Filter = 0;
  sConfig.IC2Polarity = TIM_ICPOLARITY_FALLING;
  sConfig.IC2Selection = TIM_ICSELECTION_DIRECTTI;
  sConfig.IC2Prescaler = TIM_ICPSC_DIV1;
  sConfig.IC2Filter = 0;
  if (HAL_TIM_Encoder_Init(&htim3, &sConfig) != HAL_OK)
  {
    _Error_Handler(__FILE__, __LINE__);
  }

  sMasterConfig.MasterOutputTrigger = TIM_TRGO_RESET;
  sMasterConfig.MasterSlaveMode = TIM_MASTERSLAVEMODE_DISABLE;
  if (HAL_TIMEx_MasterConfigSynchronization(&htim3, &sMasterConfig) != HAL_OK)
  {
    _Error_Handler(__FILE__, __LINE__);
  }

}

/* TIM4 init function */
static void MX_TIM4_Init(void)
{

  TIM_ClockConfigTypeDef sClockSourceConfig;
  TIM_MasterConfigTypeDef sMasterConfig;

  htim4.Instance = TIM4;
  htim4.Init.Prescaler = 8400-1;
  htim4.Init.CounterMode = TIM_COUNTERMODE_UP;
  htim4.Init.Period = 1000-1;
  htim4.Init.ClockDivision = TIM_CLOCKDIVISION_DIV1;
  if (HAL_TIM_Base_Init(&htim4) != HAL_OK)
  {
    _Error_Handler(__FILE__, __LINE__);
  }

  sClockSourceConfig.ClockSource = TIM_CLOCKSOURCE_INTERNAL;
  if (HAL_TIM_ConfigClockSource(&htim4, &sClockSourceConfig) != HAL_OK)
  {
    _Error_Handler(__FILE__, __LINE__);
  }

  sMasterConfig.MasterOutputTrigger = TIM_TRGO_UPDATE;
  sMasterConfig.MasterSlaveMode = TIM_MASTERSLAVEMODE_DISABLE;
  if (HAL_TIMEx_MasterConfigSynchronization(&htim4, &sMasterConfig) != HAL_OK)
  {
    _Error_Handler(__FILE__, __LINE__);
  }

}

/* TIM5 init function */
static void MX_TIM5_Init(void)
{

  TIM_Encoder_InitTypeDef sConfig;
  TIM_MasterConfigTypeDef sMasterConfig;

  htim5.Instance = TIM5;
  htim5.Init.Prescaler = 0;
  htim5.Init.CounterMode = TIM_COUNTERMODE_UP;
  htim5.Init.Period = 60000;
  htim5.Init.ClockDivision = TIM_CLOCKDIVISION_DIV1;
  sConfig.EncoderMode = TIM_ENCODERMODE_TI12;
  sConfig.IC1Polarity = TIM_ICPOLARITY_RISING;
  sConfig.IC1Selection = TIM_ICSELECTION_DIRECTTI;
  sConfig.IC1Prescaler = TIM_ICPSC_DIV1;
  sConfig.IC1Filter = 0;
  sConfig.IC2Polarity = TIM_ICPOLARITY_FALLING;
  sConfig.IC2Selection = TIM_ICSELECTION_DIRECTTI;
  sConfig.IC2Prescaler = TIM_ICPSC_DIV1;
  sConfig.IC2Filter = 0;
  if (HAL_TIM_Encoder_Init(&htim5, &sConfig) != HAL_OK)
  {
    _Error_Handler(__FILE__, __LINE__);
  }

  sMasterConfig.MasterOutputTrigger = TIM_TRGO_RESET;
  sMasterConfig.MasterSlaveMode = TIM_MASTERSLAVEMODE_DISABLE;
  if (HAL_TIMEx_MasterConfigSynchronization(&htim5, &sMasterConfig) != HAL_OK)
  {
    _Error_Handler(__FILE__, __LINE__);
  }

}

/* TIM9 init function */
static void MX_TIM9_Init(void)
{

  TIM_ClockConfigTypeDef sClockSourceConfig;

  htim9.Instance = TIM9;
  htim9.Init.Prescaler = 8400-1;
  htim9.Init.CounterMode = TIM_COUNTERMODE_UP;
  htim9.Init.Period = 100-1;
  htim9.Init.ClockDivision = TIM_CLOCKDIVISION_DIV1;
  if (HAL_TIM_Base_Init(&htim9) != HAL_OK)
  {
    _Error_Handler(__FILE__, __LINE__);
  }

  sClockSourceConfig.ClockSource = TIM_CLOCKSOURCE_INTERNAL;
  if (HAL_TIM_ConfigClockSource(&htim9, &sClockSourceConfig) != HAL_OK)
  {
    _Error_Handler(__FILE__, __LINE__);
  }

}

/* USART2 init function */
static void MX_USART2_UART_Init(void)
{

  huart2.Instance = USART2;
  huart2.Init.BaudRate = 115200;
  huart2.Init.WordLength = UART_WORDLENGTH_8B;
  huart2.Init.StopBits = UART_STOPBITS_1;
  huart2.Init.Parity = UART_PARITY_NONE;
  huart2.Init.Mode = UART_MODE_TX_RX;
  huart2.Init.HwFlowCtl = UART_HWCONTROL_NONE;
  huart2.Init.OverSampling = UART_OVERSAMPLING_16;
  if (HAL_UART_Init(&huart2) != HAL_OK)
  {
    _Error_Handler(__FILE__, __LINE__);
  }

}

/* USART6 init function */
static void MX_USART6_UART_Init(void)
{

  huart6.Instance = USART6;
  huart6.Init.BaudRate = 115200;
  huart6.Init.WordLength = UART_WORDLENGTH_8B;
  huart6.Init.StopBits = UART_STOPBITS_1;
  huart6.Init.Parity = UART_PARITY_NONE;
  huart6.Init.Mode = UART_MODE_TX_RX;
  huart6.Init.HwFlowCtl = UART_HWCONTROL_NONE;
  huart6.Init.OverSampling = UART_OVERSAMPLING_16;
  if (HAL_UART_Init(&huart6) != HAL_OK)
  {
    _Error_Handler(__FILE__, __LINE__);
  }

}

static void MX_DMA_Init(void)
{
  /* DMA controller clock enable */
  __HAL_RCC_DMA2_CLK_ENABLE();

  /* DMA interrupt init */
  /* DMA2_Stream0_IRQn interrupt configuration */
  HAL_NVIC_SetPriority(DMA2_Stream0_IRQn, 0, 0);
  HAL_NVIC_EnableIRQ(DMA2_Stream0_IRQn);

}

/** Configure pins as
        * Analog
        * Input
        * Output
        * EVENT_OUT
        * EXTI
*/
static void MX_GPIO_Init(void)
{

  GPIO_InitTypeDef GPIO_InitStruct;

  /* GPIO Ports Clock Enable */
  __HAL_RCC_GPIOC_CLK_ENABLE();
  __HAL_RCC_GPIOH_CLK_ENABLE();
  __HAL_RCC_GPIOA_CLK_ENABLE();
  __HAL_RCC_GPIOB_CLK_ENABLE();

  /*Configure GPIO pin Output Level */
  HAL_GPIO_WritePin(GPIOA, GPIO_PIN_5, GPIO_PIN_RESET);

  /*Configure GPIO pin Output Level */
  HAL_GPIO_WritePin(GPIOB, GPIO_PIN_1|GPIO_PIN_2|GPIO_PIN_4|GPIO_PIN_5, GPIO_PIN_RESET);

  /*Configure GPIO pin : PC13 */
  GPIO_InitStruct.Pin = GPIO_PIN_13;
  GPIO_InitStruct.Mode = GPIO_MODE_IT_RISING;
  GPIO_InitStruct.Pull = GPIO_NOPULL;
  HAL_GPIO_Init(GPIOC, &GPIO_InitStruct);

  /*Configure GPIO pin : PA5 */
  GPIO_InitStruct.Pin = GPIO_PIN_5;
  GPIO_InitStruct.Mode = GPIO_MODE_OUTPUT_PP;
  GPIO_InitStruct.Pull = GPIO_NOPULL;
  GPIO_InitStruct.Speed = GPIO_SPEED_FREQ_LOW;
  HAL_GPIO_Init(GPIOA, &GPIO_InitStruct);

  /*Configure GPIO pins : PB1 PB2 PB4 PB5 */
  GPIO_InitStruct.Pin = GPIO_PIN_1|GPIO_PIN_2|GPIO_PIN_4|GPIO_PIN_5;
  GPIO_InitStruct.Mode = GPIO_MODE_OUTPUT_PP;
  GPIO_InitStruct.Pull = GPIO_NOPULL;
  GPIO_InitStruct.Speed = GPIO_SPEED_FREQ_LOW;
  HAL_GPIO_Init(GPIOB, &GPIO_InitStruct);

  /*Configure GPIO pins : PB13 PB14 */
  GPIO_InitStruct.Pin = GPIO_PIN_13|GPIO_PIN_14;
  GPIO_InitStruct.Mode = GPIO_MODE_INPUT;
  GPIO_InitStruct.Pull = GPIO_NOPULL;
  HAL_GPIO_Init(GPIOB, &GPIO_InitStruct);

}

/* USER CODE BEGIN 4 */
void HAL_ADC_ConvCpltCallback(ADC_HandleTypeDef* hadc)
{
  /* Prevent unused argument(s) compilation warning */
  UNUSED(hadc);
  /* NOTE : This function Should not be modified, when the callback is needed,
            the HAL_ADC_ConvCpltCallback could be implemented in the user file
   */
  HAL_GPIO_TogglePin(GPIOA, GPIO_PIN_5);
}

void HAL_TIM_IC_CaptureCallback(TIM_HandleTypeDef *htim)
{
  /* Prevent unused argument(s) compilation warning */
  UNUSED(htim);
  /* NOTE : This function Should not be modified, when the callback is needed,
            the __HAL_TIM_IC_CaptureCallback could be implemented in the user file
   */
  //Encoder =__HAL_TIM_GET_COUNTER(&htim2);
  //HAL_GPIO_TogglePin(GPIOA, GPIO_PIN_5);
}
/* USER CODE END 4 */

void _Error_Handler(char *file, int line)
{
  while(1)
  {
  }
}

/************************ (C) COPYRIGHT STMicroelectronics *****END OF FILE****/
